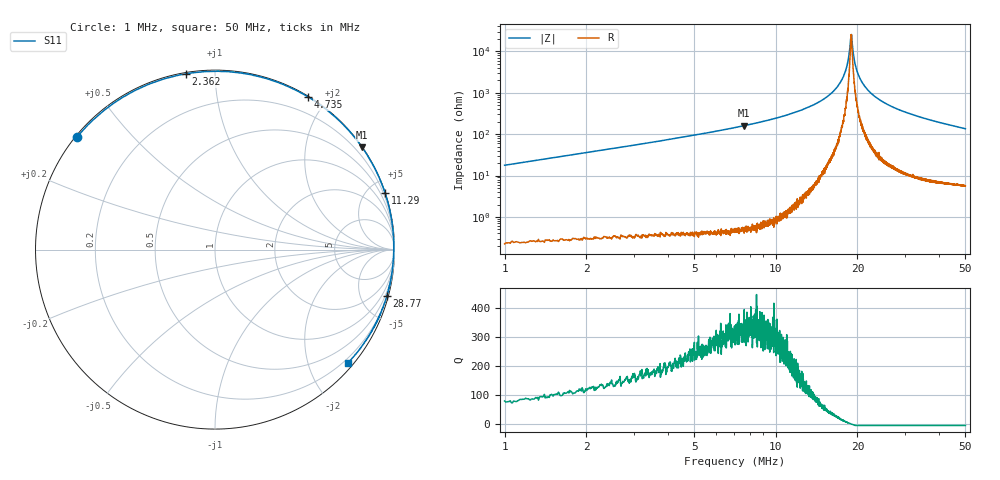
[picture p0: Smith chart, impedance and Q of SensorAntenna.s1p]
! ListType=Lin
# MHz S RI R 50
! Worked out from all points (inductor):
!   5000 points, 1 MHz to 50 MHz, reference 50 ohm
!   read as one part to ground: L = 2.81 uH near 1.245 MHz
!   highest Q = 346 at 7.616 MHz (marker M1), where L = 3.34 uH
!   self-resonance near 18.98 MHz
!   S11 on the Smith chart (normalised r, x): 1 MHz: 0.00, +0.36; 2.362 MHz: 0.01, +0.85; 4.735 MHz: 0.01, +1.78; 11.29 MHz: 0.03, +6.14; 28.77 MHz: 0.26, -7.59; 50 MHz: 0.11, -2.70
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1  -0.7696 0.6261
1.215643  -0.6794 0.7223
1.470494  -0.5655 0.8148
1.725345  -0.4475 0.885
2.039008  -0.3043 0.9445
2.362472  -0.1634 0.9789
2.607521  -0.0638 0.9909
2.872174  0.0357 0.9928
3.185837  0.1431 0.9839
3.489698  0.2357 0.966
4.087618  0.3887 0.9167
4.734547  0.5172 0.8512
5.244249  0.5976 0.7978
5.842168  0.6736 0.7358
6.469494  0.7363 0.6735
7.126225  0.788 0.6123
7.616323  0.8199 0.5693
9.243449  0.8941 0.4445
11.29206  0.9468 0.317
13.25245  0.9739 0.2175
16.05581  0.9918 0.1005
19.37868  0.996 -0.0125
25.5049  0.977 -0.1813
28.76895  0.9574 -0.2563
31.63113  0.9365 -0.3188
37.75735  0.8832 -0.4372
43.88358  0.816 -0.5419
50  0.7391 -0.6333
